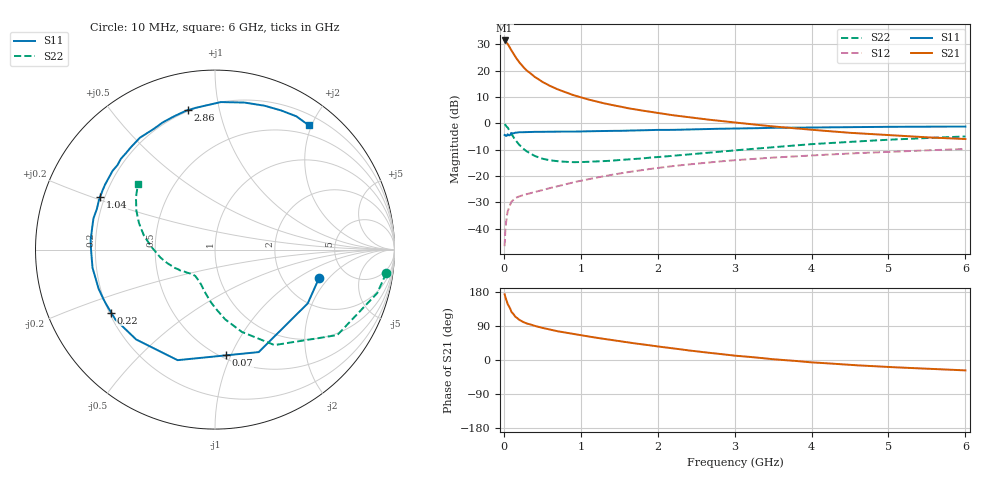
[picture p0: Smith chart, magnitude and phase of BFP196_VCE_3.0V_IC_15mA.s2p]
! Infineon Technologies  Discrete & RF Semiconductors
! BFP196
! VCE = 3.0 V,  IC =  15mA
! Common Emitter S-Parameters:  Jan 2016
# GHz  S  MA  R  50
!  f  S11  S21  S12  S22
! GHz  MAG  ANG  MAG  ANG  MAG  ANG  MAG  ANG
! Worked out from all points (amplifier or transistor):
!   210 points, 10 MHz to 6 GHz, reference 50 ohm
!   highest |S21| = 31.4 dB at 10 MHz (marker M1)
!   |S21| within 3 dB of that: start of sweep to 82.87 MHz
!   unconditionally stable (mu >= 1): 759 MHz to 3.43 GHz
!   at 185 MHz: K = 0.40, MSG = 25.8 dB, |S12| = -27.9 dB
!   at 1.52 GHz: K = 1.13, MAG = 10.4 dB, |S12| = -18.9 dB
!   at 6 GHz: K = 0.98, MSG = 1.9 dB, |S12| = -9.7 dB
!   S11 on the Smith chart (normalised r, x): 10 MHz: 3.18, -1.57; 70 MHz: 0.53, -0.96; 220 MHz: 0.21, -0.27; 1.04 GHz: 0.18, +0.21; 2.86 GHz: 0.19, +0.81; 6 GHz: 0.35, +1.96
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0.01  0.6013 -15.2  37.18 173.5  0.0047 84.9  0.9629 -7.8
0.02  0.5973 -30.1  35.97 165.5  0.0096 77.1  0.9358 -15.0
0.05  0.6208 -66.9  32.04 147.5  0.0215 62.9  0.8311 -35.0
0.07  0.5923 -83.9  28.39 140.6  0.0258 55.4  0.7357 -42.7
0.1  0.6503 -108.7  23.99 126.6  0.0329 48.0  0.6264 -58.1
0.15  0.6661 -131.3  18.11 113.9  0.0385 40.7  0.4827 -71.9
0.2  0.6782 -144.9  14.4 106.0  0.0412 37.9  0.3927 -81.7
0.22  0.6765 -148.8  13.32 104.0  0.0422 37.5  0.3674 -84.3
0.26  0.68 -156.0  11.38 99.6  0.044 37.1  0.3233 -89.9
0.3  0.6841 -161.4  9.954 96.2  0.0456 37.7  0.2932 -94.6
0.4  0.6899 -171.5  7.616 89.9  0.0497 39.2  0.2416 -103.8
0.5  0.6904 -178.7  6.109 84.8  0.0544 41.7  0.2138 -110.4
0.7  0.6952 170.2  4.406 75.8  0.0643 45.4  0.1911 -119.9
1.02  0.7038 156.0  3.044 64.7  0.0828 48.3  0.1847 -129.7
1.04  0.7045 155.2  2.989 64.1  0.084 48.4  0.1852 -130.2
1.4  0.7201 142.4  2.228 52.9  0.1054 48.5  0.196 -137.8
2.02  0.7506 123.3  1.552 35.3  0.1438 44.9  0.2304 -151.1
2.86  0.7912 101.0  1.093 14.8  0.1922 36.5  0.2949 -169.0
3.1  0.8 95.8  1.002 9.9  0.2046 33.5  0.3158 -174.1
4.1  0.8367 77.1  0.735 -7.4  0.2507 22.2  0.4115 167.2
5.1  0.8599 63.4  0.586 -19.4  0.2918 11.1  0.4962 152.1
6  0.8675 53.0  0.504 -27.4  0.3261 0.9  0.5639 139.6
